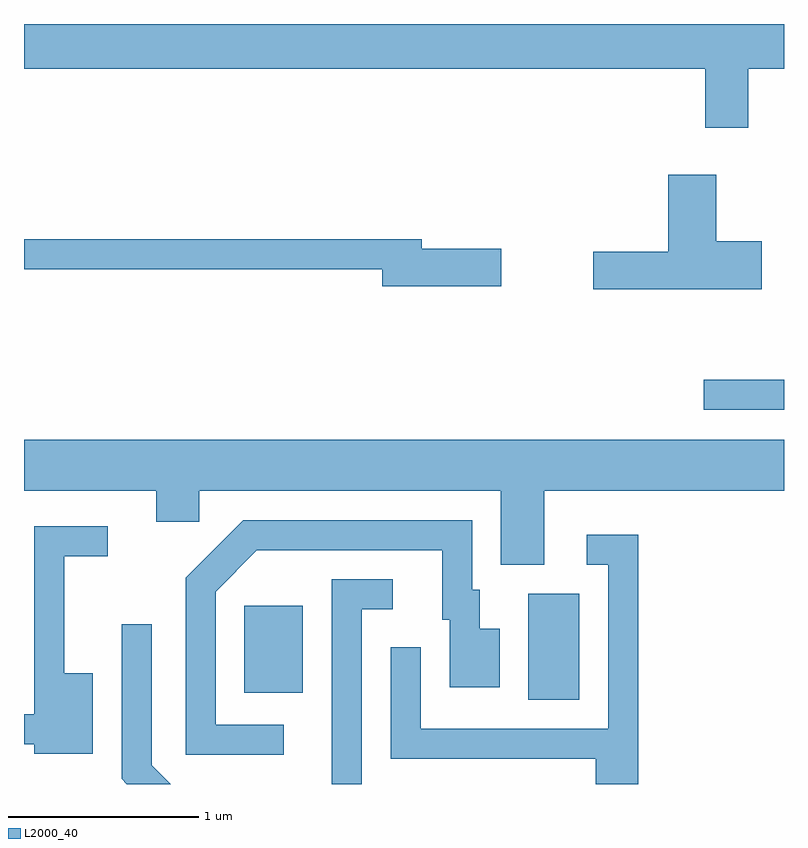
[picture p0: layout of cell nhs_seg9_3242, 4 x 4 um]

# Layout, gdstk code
import gdstk
lib = gdstk.Library(unit=1e-6, precision=1e-09)
def R(c, l, rs):  # rectangles x0, y0, x1, y1
    for r in rs: c.add(gdstk.rectangle(r[:2], r[2:], *l))
def P(c, l, *ps):  # polygons
    for p in ps: c.add(gdstk.Polygon(p, *l))
L2000_40 = (2000, 40)

nhs_seg9_3242 = lib.new_cell('nhs_seg9_3242')
R(nhs_seg9_3242, L2000_40, [(282.266,2052.876,282.534,2053.434), (280.771,2052.911,281.079,2053.369), (283.188,2054.401,283.611,2054.559)])
P(nhs_seg9_3242, L2000_40, [(283.424,2056.196),(283.611,2056.196),(283.611,2056.432),(279.611,2056.432),(279.611,2056.196),(283.196,2056.196),(283.196,2055.886),(283.424,2055.886)],
  [(283.494,2055.289),(283.254,2055.289),(283.254,2055.639),(283.001,2055.639),(283.001,2055.234),(282.606,2055.234),(282.606,2055.036),(283.494,2055.036)],
  [(282.124,2055.249),(281.704,2055.249),(281.704,2055.299),(279.611,2055.299),(279.611,2055.141),(281.496,2055.141),(281.496,2055.051),(282.124,2055.051)],
  [(282.349,2053.976),(283.611,2053.976),(283.611,2054.244),(279.611,2054.244),(279.611,2053.976),(280.306,2053.976),(280.306,2053.811),(280.534,2053.811),(280.534,2053.976),(282.121,2053.976),(282.121,2053.586),(282.349,2053.586)],
  [(280.978,2052.744),(280.619,2052.744),(280.619,2053.443),(280.837,2053.661),(281.811,2053.661),(281.811,2053.296),(281.851,2053.296),(281.851,2052.941),(282.114,2052.941),(282.114,2053.249),(282.009,2053.249),(282.009,2053.454),(281.969,2053.454),(281.969,2053.819),(280.764,2053.819),(280.461,2053.517),(280.461,2052.586),(280.978,2052.586)],
  [(279.974,2053.014),(279.824,2053.014),(279.824,2053.631),(280.053,2053.631),(280.053,2053.789),(279.666,2053.789),(279.666,2052.799),(279.611,2052.799),(279.611,2052.641),(279.666,2052.641),(279.666,2052.591),(279.974,2052.591)],
  [(282.844,2053.744),(282.573,2053.744),(282.573,2053.586),(282.686,2053.586),(282.686,2052.724),(281.699,2052.724),(281.699,2053.153),(281.541,2053.153),(281.541,2052.566),(282.621,2052.566),(282.621,2052.432),(282.844,2052.432)],
  [(281.389,2053.351),(281.553,2053.351),(281.553,2053.509),(281.231,2053.509),(281.231,2052.432),(281.389,2052.432)],
  [(280.284,2052.532),(280.284,2053.273),(280.126,2053.273),(280.126,2052.459),(280.153,2052.432),(280.384,2052.432)])

lib.write_gds('nhs_seg9_3242.gds')
